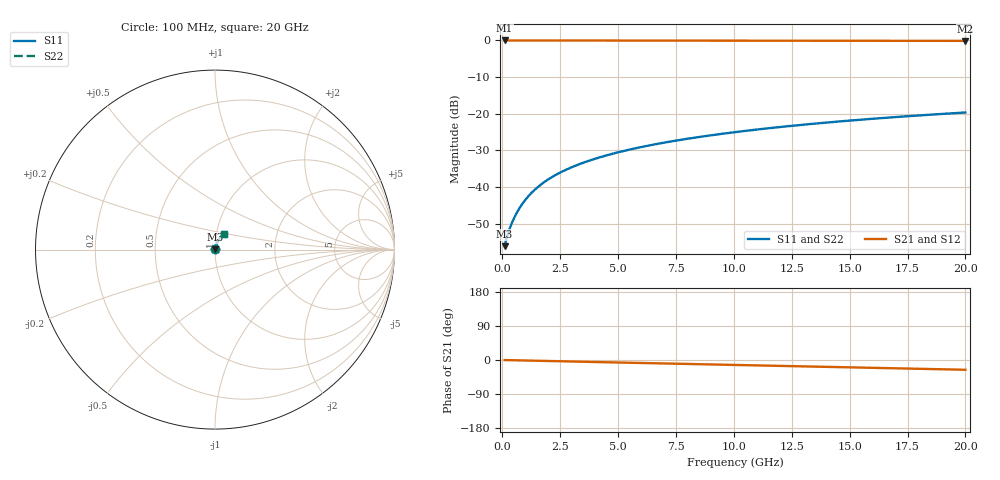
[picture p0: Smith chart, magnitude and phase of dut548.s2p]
! Touchstone file exported from HFSS 2026.1.0
!  File:  C:/ffzhzh/LocalFiles/Ansys_Project_Files/temp_train_BSMRDL_548_1783015101_51716.aedt
!  Generated:  02:00:08 AM Jul  3, 2026
!  Design:  BSMRDL
!  Project:  temp_train_BSMRDL_548_1783015101_51716
! Variables:
!  h_bsmrdl = 5.21um
!  h_ox = 20um
!  h_rdl = 5um
!  h_sub = 80um
!  h_tmrdl = 5um
!  h_tsv = 80um
!  h_via = 3um
!  l_bsmrdl = 431.1um
!  l_sub = 831.1um
!  l_tmrdl = 200um
!  m_sub = 200um
!  pitch = 38.23um
!  r_tsv = 6um
!  s_tmrdl = 10um
!  w_bsmrdl = 27.61um
!  w_sub = 500um
!  w_tmrdl = 12um
!  x_tsv_center1 = 206um
!  x_tsv_center2 = 664.71um
!  x_tsv_center3 = 876.71um
!  x_tsv_center4 = 1335.42um
!  x_tsv_center5 = 1547.42um
!  x_tsv_center6 = 2006.13um
# GHz S MA R 50.000000
! Terminal data exported
! Port[1] = BSM_RDL1_1_T1
! Port[2] = BSM_RDL1_1_T2
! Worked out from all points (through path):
!   200 points, 100 MHz to 20 GHz, reference 50 ohm
!   highest |S21| = -0.01 dB at 100 MHz (marker M1); lowest = -0.1 dB at 20 GHz (marker M2)
!   group delay of S21, straight-line fit = 3.56 ps
!   lowest |S11| = -56.1 dB at 100 MHz (marker M3), VSWR 1.00, Z = 50.1 + j0.0862 ohm
!   |S11| at or under -10 dB: start of sweep to end of sweep
!   |S22| runs from -56.1 to -19.7 dB; largest |S21 - S12| = 6.1e-15
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0.1  0.001561 33.4  0.9987 -0.1  0.9987 -0.1  0.001561 33.4
! Gamma 0 0 0 0
! Port Impedance 50 0 50 0
0.2  0.002099 45.6  0.9985 -0.3  0.9985 -0.3  0.002099 45.6
0.3  0.002615 53.5  0.9984 -0.4  0.9984 -0.4  0.002616 53.5
0.4  0.003154 59.2  0.9983 -0.6  0.9983 -0.6  0.003154 59.2
0.5  0.003718 63.4  0.9982 -0.7  0.9982 -0.7  0.003718 63.4
0.6  0.0043 66.5  0.9982 -0.8  0.9982 -0.8  0.0043 66.5
0.8  0.005499 70.5  0.9981 -1.1  0.9981 -1.1  0.005499 70.5
1  0.00672 73.0  0.998 -1.4  0.998 -1.4  0.00672 73.0
1.2  0.007948 74.5  0.9979 -1.6  0.9979 -1.6  0.007948 74.5
1.4  0.009175 75.5  0.9978 -1.9  0.9978 -1.9  0.009175 75.5
1.7  0.011 76.3  0.9977 -2.3  0.9977 -2.3  0.011 76.3
2.2  0.014 76.8  0.9974 -2.9  0.9974 -2.9  0.014 76.8
2.8  0.01751 76.8  0.9969 -3.7  0.9969 -3.7  0.01751 76.8
3.5  0.0215 76.4  0.9964 -4.7  0.9964 -4.7  0.0215 76.4
4.2  0.02539 75.9  0.9959 -5.6  0.9959 -5.6  0.02539 75.9
5  0.02975 75.3  0.9954 -6.6  0.9954 -6.6  0.02975 75.3
6.8  0.03933 73.7  0.9942 -8.9  0.9942 -8.9  0.03933 73.7
8.3  0.04714 72.3  0.9932 -10.9  0.9932 -10.9  0.04714 72.3
10.1  0.05636 70.5  0.9921 -13.2  0.9921 -13.2  0.05636 70.5
13.4  0.07283 66.9  0.9901 -17.4  0.9901 -17.4  0.07283 66.9
16.7  0.08873 63.2  0.9879 -21.6  0.9879 -21.6  0.08873 63.2
20  0.104 59.5  0.9857 -25.7  0.9857 -25.7  0.104 59.5
